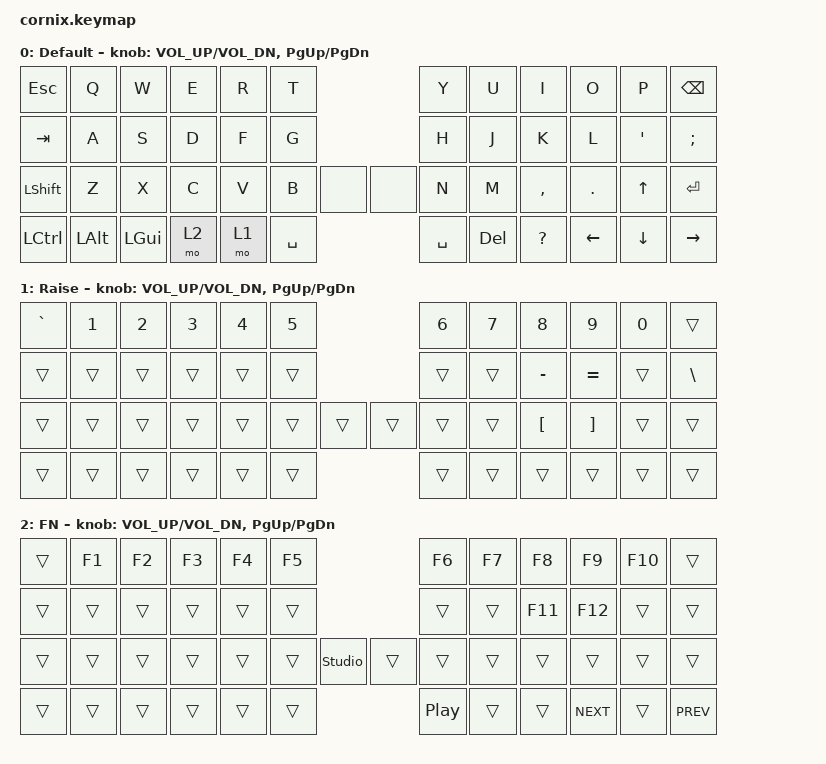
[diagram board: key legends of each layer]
/*
 * Copyright (c) 2020 The ZMK Contributors
 *
 * SPDX-License-Identifier: MIT
 */

#include <behaviors.dtsi>
#include <dt-bindings/zmk/bt.h>
#include <dt-bindings/zmk/keys.h>
#include <dt-bindings/zmk/ext_power.h>

/ {

    keymap {
        compatible = "zmk,keymap";

        default_layer {
            display-name = "Default";

            bindings = <
                &kp ESC   &kp Q    &kp W    &kp E &kp R &kp T                 &kp Y     &kp U &kp I     &kp O   &kp P   &kp BSPC
                &kp TAB   &kp A    &kp S    &kp D &kp F &kp G                 &kp H     &kp J &kp K     &kp L   &kp SQT &kp SEMI
                &kp LSHFT &kp Z    &kp X    &kp C &kp V &kp B     &none &none &kp N     &kp M &kp COMMA &kp DOT &kp UP  &kp ENTER
                &kp LCTRL &kp LALT &kp LGUI &mo 2 &mo 1 &kp SPACE             &kp SPACE &kp DEL &kp QMARK &kp LEFT &kp DOWN &kp RIGHT
            >;
            sensor-bindings = <&inc_dec_kp C_VOL_UP C_VOL_DN &inc_dec_kp PG_UP PG_DN>;
        };

        win_layer {
            display-name = "Raise";

            bindings = <
                &kp GRAVE &kp N1 &kp N2 &kp N3 &kp N4 &kp N5               &kp N6 &kp N7 &kp N8    &kp N9    &kp N0 &trans
                &trans    &trans &trans &trans &trans &trans               &trans &trans &kp MINUS &kp EQUAL &trans &kp BSLH
                &trans    &trans &trans &trans &trans &trans &trans &trans &trans &trans &kp LBKT  &kp RBKT  &trans &trans
                &trans    &trans &trans &trans &trans &trans               &trans &trans &trans    &trans    &trans &trans
            >;
            sensor-bindings = <&inc_dec_kp C_VOL_UP C_VOL_DN &inc_dec_kp PG_UP PG_DN>;
        };

        Symbol_layer {
            display-name = "FN";

            bindings = <
                &trans &kp F1 &kp F2 &kp F3 &kp F4 &kp F5                       &kp F6   &kp F7 &kp F8  &kp F9     &kp F10 &trans
                &trans &trans &trans &trans &trans &trans                       &trans   &trans &kp F11 &kp F12    &trans  &trans
                &trans &trans &trans &trans &trans &trans &studio_unlock &trans &trans   &trans &trans  &trans     &trans  &trans
                &trans &trans &trans &trans &trans &trans                       &kp C_PP &trans &trans  &kp C_NEXT &trans  &kp C_PREV
            >;
            sensor-bindings = <&inc_dec_kp C_VOL_UP C_VOL_DN &inc_dec_kp PG_UP PG_DN>;
        };
    };
};
